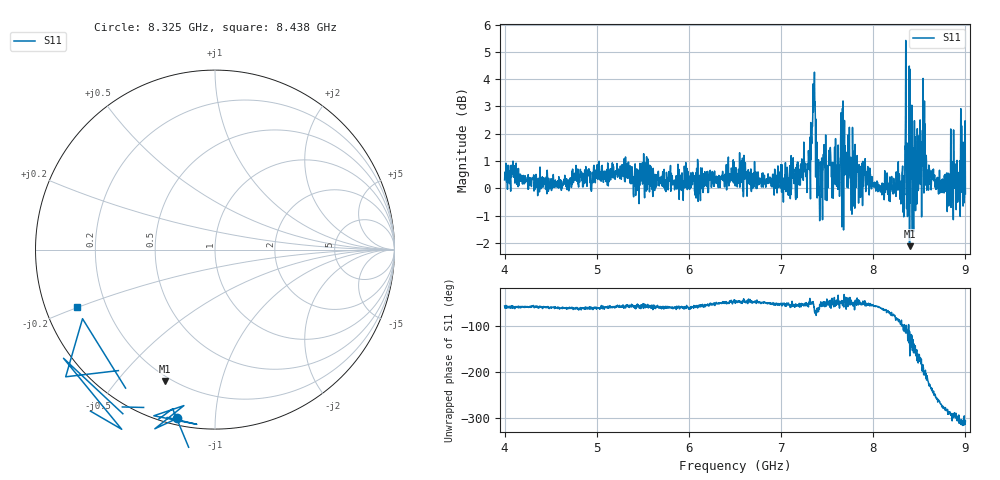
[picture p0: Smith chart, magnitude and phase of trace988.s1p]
! Created with skrf 1.8.0 (http://scikit-rf.org).
# Hz S RI R 50.0
!freq ReS11 ImS11
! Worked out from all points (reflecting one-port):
!   1601 points, 4 GHz to 9 GHz, reference 50 ohm
!   lowest |S11| = -2.1 dB at 8.394 GHz (marker M1), VSWR 8.22, Z = 8.91 - j33.7 ohm
!   phase of S11 starts at -55 deg and turns -251 deg over the sweep
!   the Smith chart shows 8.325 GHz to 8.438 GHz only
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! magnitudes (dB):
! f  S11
! 4 GHz  0.3
! 4.625 GHz  0.0
! 5.25 GHz  0.4
! 5.875 GHz  0.4
! 6.5 GHz  0.6
! 7.125 GHz  0.6
! 7.294 GHz  0.7
! 7.347 GHz  3.8
! 7.372 GHz  2.5
! 7.4 GHz  0.0
! 7.425 GHz  0.0
! 7.478 GHz  1.0
! 7.619 GHz  1.6
! 7.669 GHz  2.0
! 7.75 GHz  0.7
! 7.784 GHz  0.0
! 7.828 GHz  0.6
! 8.316 GHz  0.6
! 8.331 GHz  -1.0
! 8.375 GHz  1.6
! 8.394 GHz  -2.1
! 8.447 GHz  2.5
! 8.553 GHz  0.5
! 8.606 GHz  0.2
! 8.803 GHz  -0.9
! 8.919 GHz  0.2
! 8.972 GHz  0.6
! 9 GHz  -0.2
